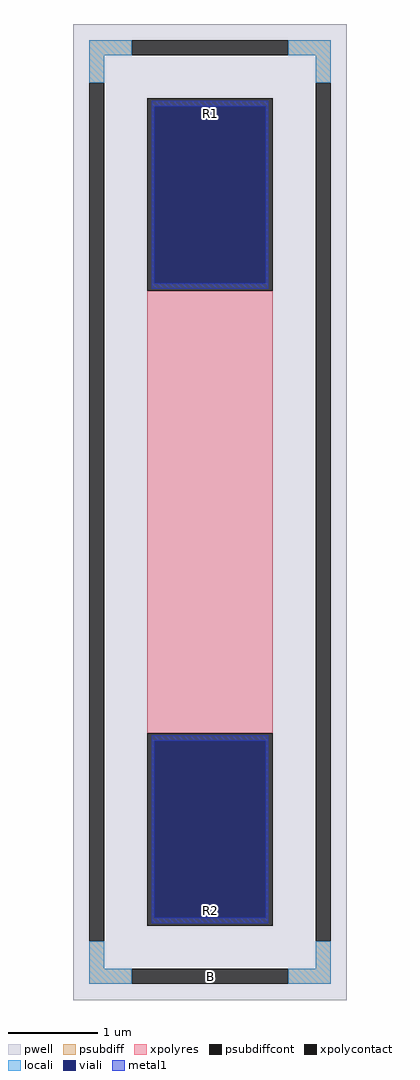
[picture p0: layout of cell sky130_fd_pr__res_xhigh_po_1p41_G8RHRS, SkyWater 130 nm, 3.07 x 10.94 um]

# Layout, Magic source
magic
tech sky130A
magscale 1 2
<< pwell >>
rect -307 -1094 307 1094
<< psubdiff >>
rect -271 1024 -175 1058
rect 175 1024 271 1058
rect -271 962 -237 1024
rect 237 962 271 1024
rect -271 -1024 -237 -962
rect 237 -1024 271 -962
rect -271 -1058 -175 -1024
rect 175 -1058 271 -1024
<< psubdiffcont >>
rect -175 1024 175 1058
rect -271 -962 -237 962
rect 237 -962 271 962
rect -175 -1058 175 -1024
<< xpolycontact >>
rect -141 496 141 928
rect -141 -928 141 -496
<< xpolyres >>
rect -141 -496 141 496
<< locali >>
rect -271 1024 -175 1058
rect 175 1024 271 1058
rect -271 962 -237 1024
rect 237 962 271 1024
rect -271 -1024 -237 -962
rect 237 -1024 271 -962
rect -271 -1058 -175 -1024
rect 175 -1058 271 -1024
<< viali >>
rect -125 513 125 910
rect -125 -910 125 -513
<< metal1 >>
rect -131 910 131 922
rect -131 513 -125 910
rect 125 513 131 910
rect -131 501 131 513
rect -131 -513 131 -501
rect -131 -910 -125 -513
rect 125 -910 131 -513
rect -131 -922 131 -910
<< labels >>
rlabel psubdiffcont 0 -1041 0 -1041 0 B
port 1 nsew
rlabel xpolycontact 0 893 0 893 0 R1
port 2 nsew
rlabel xpolycontact 0 -893 0 -893 0 R2
port 3 nsew
<< properties >>
string FIXED_BBOX -254 -1041 254 1041
string gencell sky130_fd_pr__res_xhigh_po_1p41
string library sky130
string parameters w 1.410 l 5.12 m 1 nx 1 wmin 1.410 lmin 0.50 class resistor rho 2000 val 7.529k dummy 0 dw 0.0 term 188.2 sterm 0.0 caplen 0 wmax 1.410 guard 1 glc 1 grc 1 gtc 1 gbc 1 compatible {sky130_fd_pr__res_xhigh_po_0p35  sky130_fd_pr__res_xhigh_po_0p69 sky130_fd_pr__res_xhigh_po_1p41  sky130_fd_pr__res_xhigh_po_2p85 sky130_fd_pr__res_xhigh_po_5p73} snake 0 full_metal 1 n_guard 0 hv_guard 0 vias 1 viagb 0 viagt 0 viagl 0 viagr 0 doports 1
<< end >>
